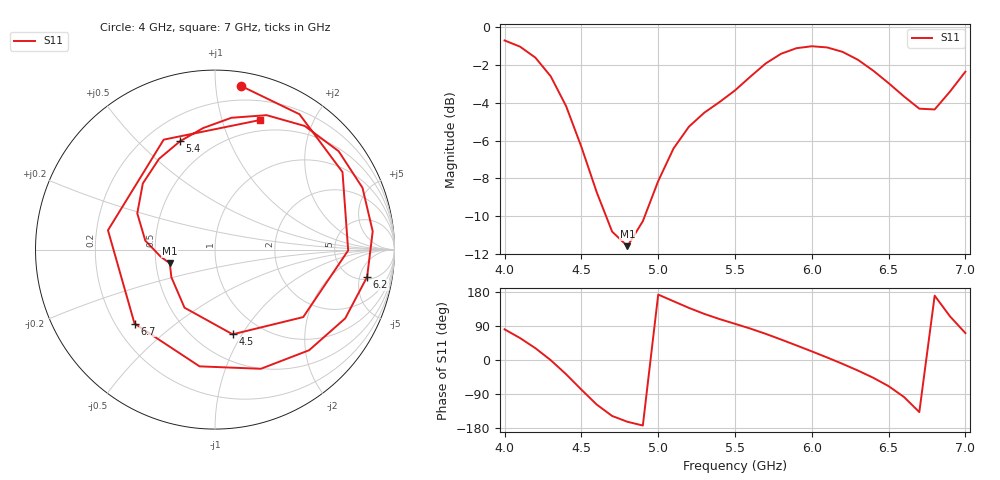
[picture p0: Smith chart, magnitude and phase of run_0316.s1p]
! Touchstone file exported from HFSS 2024.2.0
!  File:  C:/Users/wsak9/Desktop/Sim Fast/Widenad Patch/WP_AI_V1_sweep.aedt
!  Generated:  04:22:46 AM Oct 14, 2026
!  Design:  A1_model
!  Project:  WP_AI_V1_sweep
!  Setup:  Setup1
!  Solution:  Sweep
! Variables:
!  Air_gap = 4.14mm
!  Curve_Amp1 = 2.93
!  Curve_len1 = 1
!  Curve_pos = 11.56mm
!  Extra = 2.8mm
!  H_sub = 0.79mm
!  L_Patch = 19.12mm
!  L_Patch1 = 15.22mm
!  Sx = 2.17mm
!  Sy = 1.51mm
!  WS = 0.97mm
!  W_Patch = 20.33mm
!  W_Patch1 = 12.42mm
!Data is not renormalized
# GHz S MA
! Terminal data exported
! Port[1] = 1
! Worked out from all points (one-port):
!   31 points, 4 GHz to 7 GHz, reference per port
!   lowest |S11| = -11.6 dB at 4.8 GHz (marker M1), VSWR 1.71
!   |S11| at or under -10 dB: 4.66 GHz to 4.913 GHz (252.3 MHz wide, 5.27 % of centre)
!   S11 on the Smith chart (normalised r, x): 4 GHz: 0.09, +1.17; 4.5 GHz: 0.74, -0.91; 5.4 GHz: 0.33, +0.67; 6.2 GHz: 5.59, -6.56; 6.7 GHz: 0.28, -0.36; 7 GHz: 0.39, +1.33
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4  0.923 80.9
4.1  0.8889 58.0
4.2  0.8315 31.3
4.3  0.7419 -0.4
4.4  0.6188 -37.4
4.5  0.4822 -78.2
4.6  0.3654 -117.7
4.7  0.2876 -147.7
4.8  0.2632 -163.1
5  0.3915 172.7
5.1  0.4778 155.0
5.2  0.5455 137.5
5.4  0.6342 107.9
5.5  0.6806 95.5
5.7  0.8022 69.0
5.8  0.8511 54.0
5.9  0.8804 38.5
6  0.891 22.8
6.1  0.8846 6.6
6.2  0.861 -10.2
6.3  0.8205 -27.8
6.4  0.7677 -46.9
6.5  0.7115 -69.0
6.6  0.6561 -97.5
6.7  0.6088 -137.4
6.8  0.606 169.8
6.9  0.676 115.0
7  0.763 71.0
